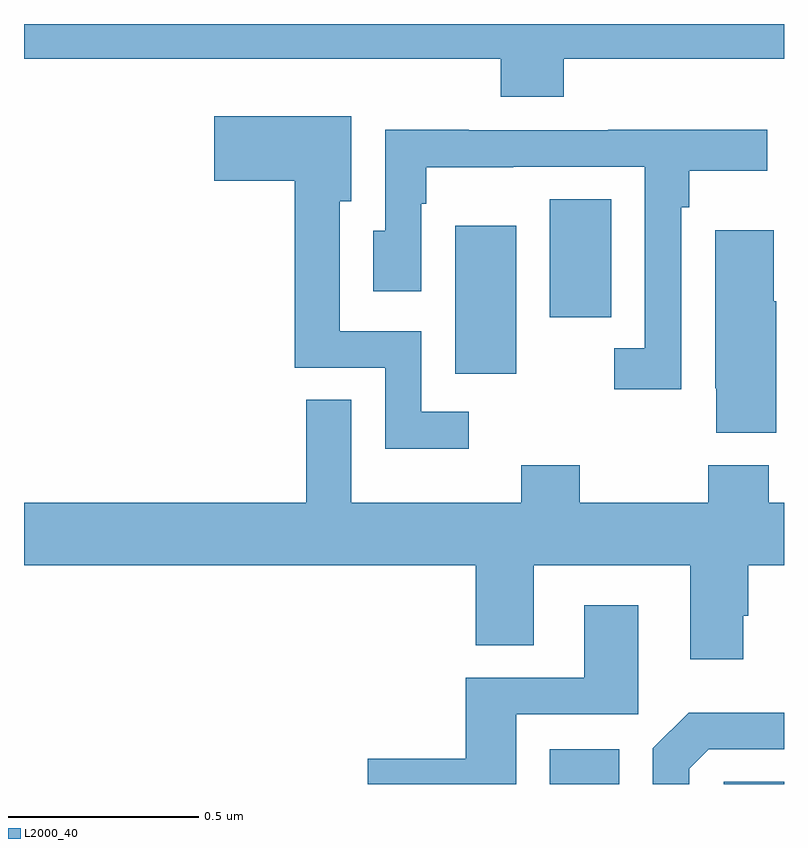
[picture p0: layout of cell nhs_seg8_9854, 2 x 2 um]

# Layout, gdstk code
import gdstk
lib = gdstk.Library(unit=1e-6, precision=1e-09)
def R(c, l, rs):  # rectangles x0, y0, x1, y1
    for r in rs: c.add(gdstk.rectangle(r[:2], r[2:], *l))
def P(c, l, *ps):  # polygons
    for p in ps: c.add(gdstk.Polygon(p, *l))
L2000_40 = (2000, 40)

nhs_seg8_9854 = lib.new_cell('nhs_seg8_9854')
R(nhs_seg8_9854, L2000_40, [(242.384,1139.9,242.566,1139.992), (242.841,1139.9,243,1139.906), (242.135,1140.98,242.296,1141.369), (242.384,1141.128,242.545,1141.439)])
P(nhs_seg8_9854, L2000_40, [(242.42,1141.808),(243,1141.808),(243,1141.9),(241,1141.9),(241,1141.808),(242.255,1141.808),(242.255,1141.709),(242.42,1141.709)],
  [(242.17,1140.879),(242.046,1140.879),(242.046,1141.092),(241.831,1141.092),(241.831,1141.433),(241.861,1141.433),(241.861,1141.657),(241.5,1141.657),(241.5,1141.487),(241.713,1141.487),(241.713,1140.996),(241.95,1140.996),(241.95,1140.782),(242.17,1140.782)],
  [(242.73,1141.418),(242.75,1141.418),(242.75,1141.514),(242.956,1141.514),(242.956,1141.622),(242.537,1141.622),(242.537,1141.62),(242.171,1141.62),(242.171,1141.622),(241.95,1141.622),(241.95,1141.356),(241.919,1141.356),(241.919,1141.197),(242.046,1141.197),(242.046,1141.427),(242.059,1141.427),(242.059,1141.523),(242.288,1141.523),(242.288,1141.524),(242.634,1141.524),(242.634,1141.047),(242.553,1141.047),(242.553,1140.939),(242.73,1140.939)],
  [(242.98,1141.17),(242.973,1141.17),(242.973,1141.357),(242.819,1141.357),(242.819,1140.942),(242.822,1140.942),(242.822,1140.824),(242.98,1140.824)],
  [(242.893,1140.343),(242.906,1140.343),(242.906,1140.476),(243,1140.476),(243,1140.64),(242.96,1140.64),(242.96,1140.739),(242.8,1140.739),(242.8,1140.64),(242.463,1140.64),(242.463,1140.739),(242.308,1140.739),(242.308,1140.64),(241.861,1140.64),(241.861,1140.911),(241.743,1140.911),(241.743,1140.64),(241,1140.64),(241,1140.476),(242.189,1140.476),(242.189,1140.265),(242.341,1140.265),(242.341,1140.476),(242.753,1140.476),(242.753,1140.228),(242.893,1140.228)],
  [(242.296,1140.084),(242.617,1140.084),(242.617,1140.37),(242.474,1140.37),(242.474,1140.18),(242.162,1140.18),(242.162,1139.966),(241.905,1139.966),(241.905,1139.9),(242.296,1139.9)],
  [(242.751,1139.94),(242.802,1139.991),(243,1139.991),(243,1140.088),(242.749,1140.088),(242.655,1139.994),(242.655,1139.9),(242.751,1139.9)])

lib.write_gds('nhs_seg8_9854.gds')
